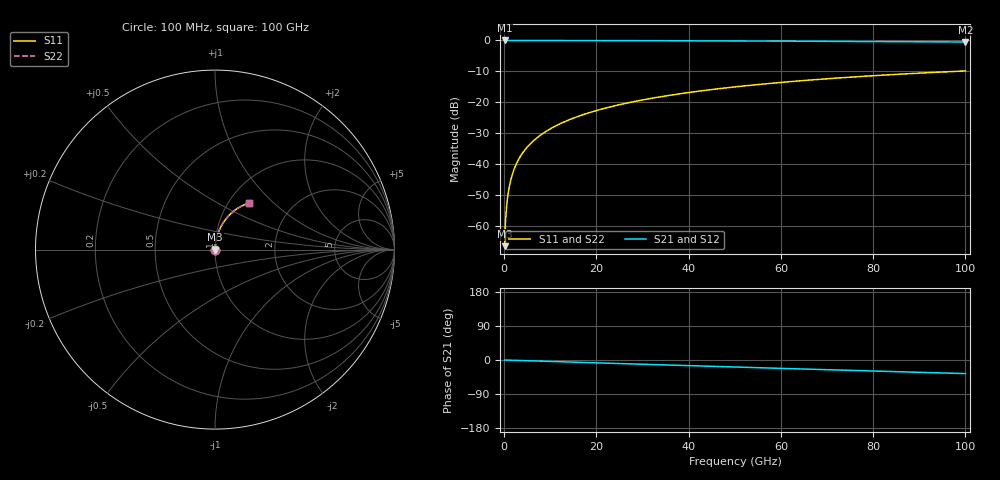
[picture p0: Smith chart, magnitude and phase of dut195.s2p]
! Touchstone file exported from HFSS 2026.1.0
!  File:  C:/ffzhzh/LocalFiles/Ansys_Project_Files/temp_train_TSV_195_1783507375_9504.aedt
!  Generated:  06:44:20 PM Jul  8, 2026
!  Design:  TSV
!  Project:  temp_train_TSV_195_1783507375_9504
! Variables:
!  h_bsmrdl = 2um
!  h_ox = 20um
!  h_rdl = 5um
!  h_sub = 53.89um
!  h_tmrdl = 5um
!  h_tsv = 53.89um
!  h_via = 3um
!  l_bsmrdl = 300um
!  l_sub = 410.54um
!  l_tmrdl = 200um
!  m_sub = 200um
!  pitch = 53.24um
!  r_tsv = 5.27um
!  s_tmrdl = 10um
!  w_bsmrdl = 18um
!  w_sub = 500um
!  w_tmrdl = 12um
!  x_tsv_center1 = 206um
!  x_tsv_center2 = 524um
!  x_tsv_center3 = 736um
!  x_tsv_center4 = 1054um
!  x_tsv_center5 = 1266um
!  x_tsv_center6 = 1584um
# GHz S MA R 50.000000
! Terminal data exported
! Port[1] = TSV1_1_T1
! Port[2] = TSV1_1_T2
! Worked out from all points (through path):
!   1000 points, 100 MHz to 100 GHz, reference 50 ohm
!   highest |S21| = 0.00 dB at 100 MHz (marker M1); lowest = -0.5 dB at 100 GHz (marker M2)
!   group delay of S21, straight-line fit = 998 fs
!   lowest |S11| = -66.4 dB at 100 MHz (marker M3), VSWR 1.00, Z = 50 + j0.0403 ohm
!   |S11| at or under -10 dB: start of sweep to 97.65 GHz
!   |S22| runs from -66.4 to -9.8 dB; largest |S21 - S12| = 2.7e-15
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0.1  0.0004773 57.5  0.9997 -0.0  0.9997 -0.0  0.0004773 57.5
! Gamma 0 0 0 0
! Port Impedance 50 0 50 0
0.4  0.001592 79.6  0.9997 -0.2  0.9997 -0.2  0.001592 79.6
0.7  0.002742 83.5  0.9997 -0.3  0.9997 -0.3  0.002742 83.5
0.8  0.003127 84.1  0.9997 -0.3  0.9997 -0.3  0.003127 84.1
1  0.003897 84.9  0.9997 -0.4  0.9997 -0.4  0.003897 84.9
1.3  0.00505 85.6  0.9996 -0.5  0.9996 -0.5  0.00505 85.6
1.7  0.006582 86.0  0.9996 -0.7  0.9996 -0.7  0.006582 86.0
2.3  0.008864 86.2  0.9995 -0.9  0.9995 -0.9  0.008864 86.2
3  0.0115 86.2  0.9994 -1.2  0.9994 -1.2  0.0115 86.2
3.8  0.01449 86.1  0.9993 -1.5  0.9993 -1.5  0.01449 86.1
4.8  0.01821 86.0  0.9991 -1.8  0.9991 -1.8  0.01821 86.0
5.9  0.02228 85.7  0.999 -2.2  0.999 -2.2  0.02228 85.7
8.8  0.03298 85.0  0.9985 -3.3  0.9985 -3.3  0.03298 85.0
12.4  0.04619 83.9  0.9978 -4.7  0.9978 -4.7  0.04619 83.9
16.8  0.06222 82.4  0.9967 -6.3  0.9967 -6.3  0.06222 82.4
24.2  0.08891 79.9  0.9944 -9.1  0.9944 -9.1  0.08891 79.9
33.4  0.1215 76.7  0.9907 -12.5  0.9907 -12.5  0.1215 76.7
41.2  0.1484 73.9  0.9869 -15.3  0.9869 -15.3  0.1484 73.9
50.1  0.1782 70.7  0.9818 -18.6  0.9818 -18.6  0.1782 70.7
66.7  0.2308 64.9  0.9705 -24.5  0.9705 -24.5  0.2308 64.9
83.4  0.2791 59.2  0.9575 -30.3  0.9575 -30.3  0.2791 59.2
100  0.322 53.7  0.9438 -35.9  0.9438 -35.9  0.322 53.7
